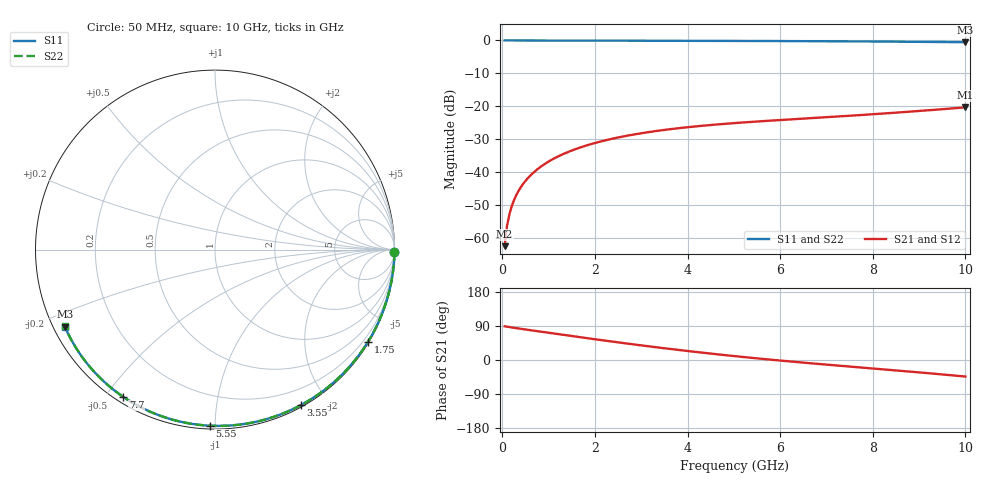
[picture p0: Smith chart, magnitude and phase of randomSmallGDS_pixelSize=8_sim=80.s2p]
! freq	dB(S11)	phase(S11)	dB(S12)	phase(S12)
!  dB(S21)	phase(S21)	dB(S22)	phase(S22)
!S-par simulation data
#  GHz  S  DB  R 50
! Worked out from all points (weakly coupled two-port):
!   200 points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, 50 MHz to 10 GHz, reference 50 ohm
!   highest |S21| = -20.36 dB at 10 GHz (marker M1); lowest = -62.6 dB at 50 MHz (marker M2)
!   lowest |S11| = -0.5 dB at 10 GHz (marker M3), VSWR 32.44, Z = 1.63 - j12.1 ohm
!   |S11| at or under -10 dB: nowhere
!   |S22| runs from -0.5 to 0.0 dB; largest |S21 - S12| = 0
!   S11 on the Smith chart (normalised r, x): 50 MHz: open; 1.75 GHz: 0.03, -3.60; 3.55 GHz: 0.02, -1.69; 5.55 GHz: 0.02, -0.97; 7.7 GHz: 0.02, -0.56; 10 GHz: 0.03, -0.24
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0.05  -0.00 -0.9  -62.60 88.9  -62.60 88.9  -0.00 -0.9
0.1  -0.00 -1.8  -56.59 87.9  -56.59 87.9  -0.00 -1.8
0.15  -0.00 -2.7  -53.08 86.9  -53.08 86.9  -0.00 -2.7
0.2  -0.00 -3.6  -50.60 85.9  -50.60 85.9  -0.00 -3.6
0.25  -0.00 -4.5  -48.68 85.0  -48.68 85.0  -0.00 -4.5
0.35  -0.00 -6.3  -45.79 83.2  -45.79 83.2  -0.00 -6.3
0.5  -0.01 -9.0  -42.74 80.5  -42.74 80.5  -0.01 -9.0
0.7  -0.01 -12.6  -39.87 77.1  -39.87 77.1  -0.01 -12.6
1  -0.02 -17.9  -36.85 71.8  -36.85 71.8  -0.02 -17.9
1.35  -0.03 -24.1  -34.35 65.8  -34.35 65.8  -0.03 -24.1
1.75  -0.04 -31.0  -32.25 59.0  -32.25 59.0  -0.04 -31.0
2.5  -0.06 -43.8  -29.52 46.5  -29.52 46.5  -0.06 -43.9
3.4  -0.08 -58.7  -27.40 32.5  -27.40 32.5  -0.08 -58.8
3.55  -0.09 -61.1  -27.13 30.3  -27.13 30.3  -0.09 -61.2
4.3  -0.11 -73.0  -25.98 19.6  -25.98 19.6  -0.11 -73.0
5.05  -0.14 -84.4  -25.11 9.8  -25.11 9.8  -0.14 -84.5
5.55  -0.16 -91.8  -24.61 3.7  -24.61 3.7  -0.16 -91.8
6.7  -0.22 -108.1  -23.61 -9.1  -23.61 -9.1  -0.22 -108.2
7.7  -0.29 -121.9  -22.74 -19.3  -22.74 -19.3  -0.29 -122.0
8.35  -0.35 -130.6  -22.12 -25.9  -22.12 -25.9  -0.35 -130.7
9.2  -0.44 -142.0  -21.24 -34.8  -21.24 -34.8  -0.44 -142.1
10  -0.54 -152.8  -20.36 -43.7  -20.36 -43.7  -0.54 -152.9
